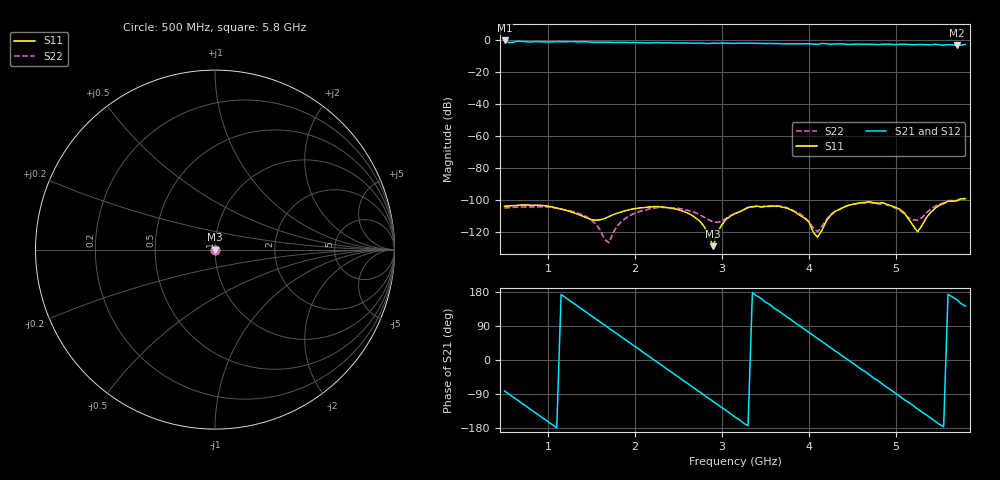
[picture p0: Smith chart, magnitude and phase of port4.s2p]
# GHZ S RI R 50
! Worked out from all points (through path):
!   107 points, 500 MHz to 5.8 GHz, reference 50 ohm
!   highest |S21| = -0.49 dB at 500 MHz (marker M1); lowest = -3.6 dB at 5.7 GHz (marker M2)
!   group delay of S21, straight-line fit = 448 ps
!   lowest |S11| = -129.0 dB at 2.9 GHz (marker M3), VSWR 1.00, Z = 50 - j9.72e-06 ohm
!   |S11| at or under -10 dB: start of sweep to end of sweep
!   |S22| runs from -126.9 to -99.3 dB; largest |S21 - S12| = 0.014
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0.5  5.3e-06 -3.4e-06  0.1313 -0.9364  0.1317 -0.9358  5.43e-06 -1.17e-06
0.7  2.39e-06 -6.45e-06  -0.3659 -0.8051  -0.3661 -0.8053  4.8e-06 -3.51e-06
0.95  -2.48e-06 -6.1e-06  -0.7737 -0.3641  -0.7735 -0.3632  2.18e-06 -5.62e-06
1.15  -3.98e-06 -3.21e-06  -0.8565 0.1086  -0.8566 0.1089  -5.34e-07 -5.06e-06
1.4  -2.86e-06 -1.1e-06  -0.5833 0.6376  -0.5836 0.6388  -2.31e-06 -2.46e-06
1.8  -2.5e-06 -2.91e-06  0.3082 0.7624  0.309 0.7606  1.23e-06 -9.53e-07
2  -4.51e-06 -2.8e-06  0.6695 0.4757  0.6702 0.4758  1.71e-06 -3.43e-06
2.3  -5.94e-06 9.08e-07  0.7805 -0.1759  0.7807 -0.1724  -2.12e-06 -5.39e-06
2.6  -2.37e-06 3.12e-06  0.3793 -0.6884  0.379 -0.6875  -4.37e-06 -1.78e-06
2.9  -3.42e-07 -9.72e-08  -0.2648 -0.7395  -0.2633 -0.7404  -1.92e-06 -6.75e-07
3.15  -3.06e-06 -2.12e-06  -0.6667 -0.377  -0.6663 -0.3822  -2.24e-06 -3e-06
3.35  -6.04e-06 -3.18e-07  -0.7813 0.0309  -0.7789 0.0227  -5.21e-06 -3.07e-06
3.55  -5.18e-06 3.46e-06  -0.6374 0.4209  -0.6309 0.4269  -6.48e-06 6.11e-07
3.85  -7.49e-07 3.94e-06  -0.0859 0.7416  -0.0899 0.7447  -2.83e-06 3.14e-06
4.05  -2.57e-07 9.39e-07  0.3083 0.6566  0.3095 0.6558  -9.98e-07 8.56e-07
4.3  -4.31e-06 -4.21e-07  0.6711 0.306  0.6696 0.3044  -3.79e-06 -2.05e-06
4.5  -6.55e-06 2.95e-06  0.7122 -0.0942  0.7153 -0.0979  -7.12e-06 -9.72e-08
4.95  1.6e-06 6.28e-06  0.1218 -0.7058  0.1225 -0.7062  -2.65e-06 5.62e-06
5.15  2.16e-06 1.12e-06  -0.2708 -0.6561  -0.2724 -0.6582  -1.1e-06 2.47e-06
5.45  -5.38e-06 -1.44e-07  -0.6832 -0.2296  -0.6817 -0.2274  -6.09e-06 1.4e-06
5.7  -6.22e-06 6.86e-06  -0.6216 0.23  -0.6145 0.2285  -6.78e-06 6.54e-06
5.8  -4.61e-06 9.86e-06  -0.5651 0.4356  -0.556 0.4426  -5.38e-06 9.33e-06
